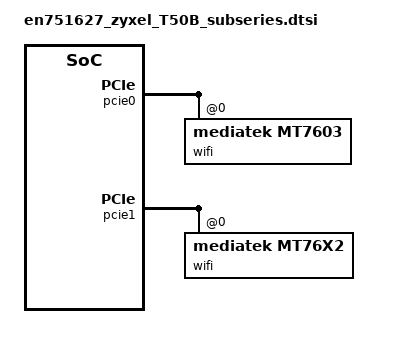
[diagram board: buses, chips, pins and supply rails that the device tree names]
// SPDX-License-Identifier: (GPL-2.0-only OR BSD-2-Clause)
/*
 * Copyright (C) 2026 Alan <alan@Riffraff>
 * Copyright (C) 2026 OpenWrt.org
 *
 * ============================================================================
 * SUBSERIES SPECIFICATION: T50B MOTHERBOARD LINE
 * ============================================================================
 * Parent Fleet: en751627_zyxel_T50_series.dtsi
 * Targets: EMG3525, VMG3625, EMG5523, VMG8623
 * Constraints: Restricts generic XHCI blocks to drop USB 3.0 transceiver paths.
 */

#include "en751627_zyxel_T50_series.dtsi"



&usb {
	/* Target configuration matching the standard MTK XHCI controller layout */
	usb3-ports {
		/delete-node/ port@1; /* Erase unpopulated hardware paths */
	};
};


/* Lane 1: The dedicated physical 2.4GHz MT7603 Wireless Chipset link */
&pcie0 {
	status = "okay";

	pcie-bridge {
		#address-cells = <3>;
		#size-cells = <2>;
		device_type = "pci";

		wifi@0,0 {
			compatible = "mediatek,mt7603";
			reg = <0x0000 0 0 0 0>;

      /* Mainline NVMEM cellular tracking mapping array */
      nvmem-cells = <&wifi_eeprom_2g>, <&mac_wlan_2g>;
      nvmem-cell-names = "eeprom", "mac-address";
 			
			/* Relative phandle tells the legacy driver to pull from offset 0x600 */
			mediatek,mtd-eeprom = <&romfile 0x600>;
		};
	};
};

/* Lane 2: The dedicated physical 5GHz MT76x2 Wireless Chipset link */
&pcie1 {
	status = "okay";

	pcie-bridge {
		#address-cells = <3>;
		#size-cells = <2>;
		device_type = "pci";

		wifi@0,0 {
			compatible = "mediatek,mt76x2";
			reg = <0x0000 0 0 0 0>;
			
      /* Mainline NVMEM cellular tracking mapping array */
      nvmem-cells = <&wifi_eeprom_5g>, <&mac_wlan_5g>;
      nvmem-cell-names = "eeprom", "mac-address";

			/* Relative phandle tells the legacy driver to pull from offset 0x4600 */
			mediatek,mtd-eeprom = <&romfile 0x4600>;
		};
	};
}
